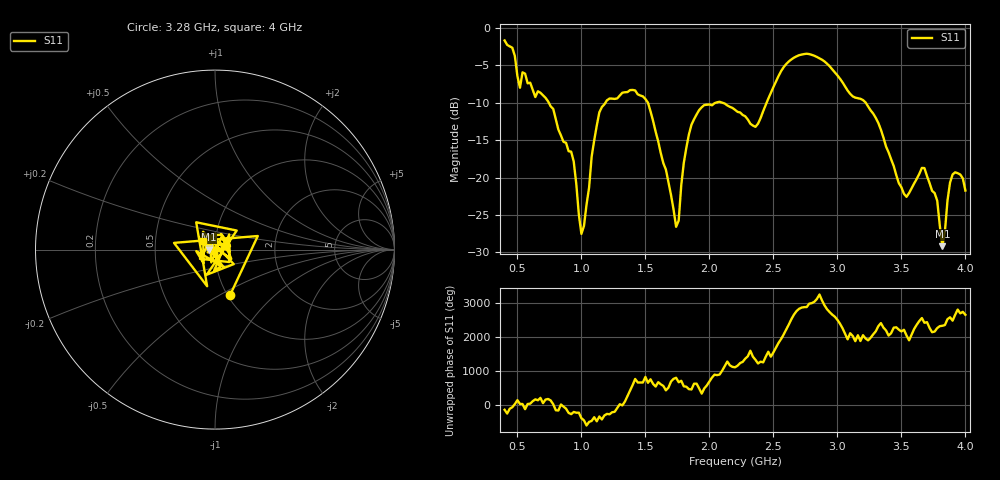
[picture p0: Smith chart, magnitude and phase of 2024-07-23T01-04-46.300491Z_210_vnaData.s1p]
!Created with skrf (http://scikit-rf.org).
# Hz S RI R 50.0
!freq ReS11 ImS11
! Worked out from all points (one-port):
!   181 points, 400 MHz to 4 GHz, reference 50 ohm
!   lowest |S11| = -29.2 dB at 3.82 GHz (marker M1), VSWR 1.07, Z = 46.6 + j0.0297 ohm
!   |S11| at or under -10 dB: 745.4 MHz to 1.187 GHz (441.9 MHz wide, 45.7 % of centre); 1.52 GHz to 2.049 GHz (529.1 MHz wide, 29.6 % of centre); 3.222 GHz to end of sweep (the widest 3 of 4)
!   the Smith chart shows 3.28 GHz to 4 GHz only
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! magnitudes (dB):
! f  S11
! 400 MHz  -1.7
! 460 MHz  -2.6
! 520 MHz  -8.0
! 540 MHz  -5.9
! 720 MHz  -9.3
! 860 MHz  -15.2
! 940 MHz  -17.9
! 1 GHz  -27.5
! 1.14 GHz  -11.3
! 1.3 GHz  -9.0
! 1.52 GHz  -10.0
! 1.74 GHz  -26.6
! 1.76 GHz  -25.8
! 1.8 GHz  -18.0
! 1.88 GHz  -12.2
! 2.2 GHz  -10.9
! 2.36 GHz  -13.2
! 2.66 GHz  -4.0
! 2.88 GHz  -4.2
! 3.1 GHz  -8.8
! 3.28 GHz  -11.4
! 3.48 GHz  -20.8
! 3.56 GHz  -22.1
! 3.68 GHz  -18.7
! 3.78 GHz  -23.1
! 3.82 GHz  -29.2
! 3.9 GHz  -19.6
! 4 GHz  -21.7
